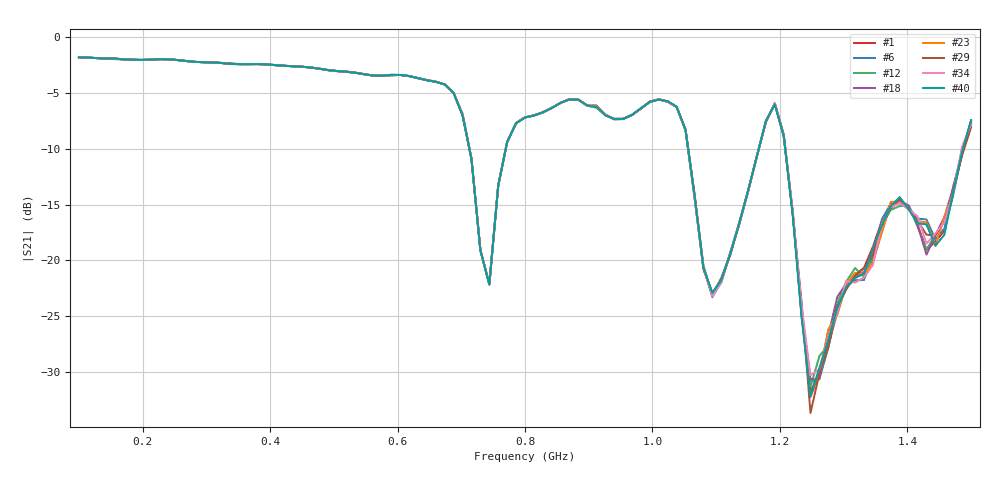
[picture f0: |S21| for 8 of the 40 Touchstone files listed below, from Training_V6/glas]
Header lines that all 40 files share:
! NanoVNA-App
! Start: 100MHz Stop: 1,5GHz Points: 101
! S-Parameter data: F S11 S21 S12 S22
# Hz S RI R 50
!  Frequency  S11_Real  S11_Imag  S21_Real  S21_Imag  S12_Real  S12_Imag  S22_Real  S22_Imag
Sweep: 100 MHz to 1.5 GHz
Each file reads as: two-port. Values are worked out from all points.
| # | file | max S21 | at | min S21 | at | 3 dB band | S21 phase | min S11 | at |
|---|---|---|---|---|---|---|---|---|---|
| 1 | glas (401).s2p | -1.80 dB | 100 MHz | -31.8 dB | 1.248 GHz | 100 MHz-674 MHz | 90 deg at 800 MHz | -41.7 dB | 492 MHz |
| 2 | glas (402).s2p | -1.80 dB | 100 MHz | -32.0 dB | 1.248 GHz | 100 MHz-674 MHz | 90 deg at 800 MHz | -41.7 dB | 492 MHz |
| 3 | glas (403).s2p | -1.80 dB | 100 MHz | -30.7 dB | 1.248 GHz | 100 MHz-674 MHz | 90 deg at 800 MHz | -41.8 dB | 492 MHz |
| 4 | glas (404).s2p | -1.80 dB | 100 MHz | -31.4 dB | 1.248 GHz | 100 MHz-674 MHz | 90 deg at 800 MHz | -41.6 dB | 492 MHz |
| 5 | glas (405).s2p | -1.80 dB | 100 MHz | -31.7 dB | 1.248 GHz | 100 MHz-674 MHz | 90 deg at 800 MHz | -41.3 dB | 492 MHz |
| 6 | glas (406).s2p | -1.80 dB | 100 MHz | -30.9 dB | 1.248 GHz | 100 MHz-674 MHz | 89 deg at 800 MHz | -41.7 dB | 492 MHz |
| 7 | glas (407).s2p | -1.80 dB | 100 MHz | -31.9 dB | 1.248 GHz | 100 MHz-674 MHz | 90 deg at 800 MHz | -41.5 dB | 492 MHz |
| 8 | glas (408).s2p | -1.80 dB | 100 MHz | -31.4 dB | 1.248 GHz | 100 MHz-674 MHz | 90 deg at 800 MHz | -41.8 dB | 492 MHz |
| 9 | glas (409).s2p | -1.80 dB | 100 MHz | -31.2 dB | 1.248 GHz | 100 MHz-674 MHz | 90 deg at 800 MHz | -41.6 dB | 492 MHz |
| 10 | glas (410).s2p | -1.80 dB | 100 MHz | -31.9 dB | 1.248 GHz | 100 MHz-674 MHz | 90 deg at 800 MHz | -41.9 dB | 492 MHz |
| 11 | glas (411).s2p | -1.80 dB | 100 MHz | -30.7 dB | 1.248 GHz | 100 MHz-674 MHz | 90 deg at 800 MHz | -41.8 dB | 492 MHz |
| 12 | glas (412).s2p | -1.80 dB | 100 MHz | -31.3 dB | 1.248 GHz | 100 MHz-674 MHz | 90 deg at 800 MHz | -41.8 dB | 492 MHz |
| 13 | glas (413).s2p | -1.80 dB | 100 MHz | -31.4 dB | 1.248 GHz | 100 MHz-674 MHz | 90 deg at 800 MHz | -41.4 dB | 492 MHz |
| 14 | glas (414).s2p | -1.80 dB | 100 MHz | -31.1 dB | 1.248 GHz | 100 MHz-674 MHz | 90 deg at 800 MHz | -41.9 dB | 492 MHz |
| 15 | glas (415).s2p | -1.80 dB | 100 MHz | -32.6 dB | 1.248 GHz | 100 MHz-674 MHz | 90 deg at 800 MHz | -41.9 dB | 492 MHz |
| 16 | glas (416).s2p | -1.80 dB | 100 MHz | -30.9 dB | 1.248 GHz | 100 MHz-674 MHz | 90 deg at 800 MHz | -41.7 dB | 492 MHz |
| 17 | glas (417).s2p | -1.80 dB | 100 MHz | -31.5 dB | 1.248 GHz | 100 MHz-674 MHz | 90 deg at 800 MHz | -42.0 dB | 492 MHz |
| 18 | glas (418).s2p | -1.80 dB | 100 MHz | -30.7 dB | 1.262 GHz | 100 MHz-674 MHz | 90 deg at 800 MHz | -41.8 dB | 492 MHz |
| 19 | glas (419).s2p | -1.80 dB | 100 MHz | -31.6 dB | 1.248 GHz | 100 MHz-674 MHz | 90 deg at 800 MHz | -41.7 dB | 492 MHz |
| 20 | glas (420).s2p | -1.80 dB | 100 MHz | -32.8 dB | 1.248 GHz | 100 MHz-674 MHz | 90 deg at 800 MHz | -41.5 dB | 492 MHz |
| 21 | glas (421).s2p | -1.80 dB | 100 MHz | -30.1 dB | 1.248 GHz | 100 MHz-674 MHz | 89 deg at 800 MHz | -41.8 dB | 492 MHz |
| 22 | glas (422).s2p | -1.80 dB | 100 MHz | -32.3 dB | 1.248 GHz | 100 MHz-674 MHz | 90 deg at 800 MHz | -41.9 dB | 492 MHz |
| 23 | glas (423).s2p | -1.80 dB | 100 MHz | -32.2 dB | 1.248 GHz | 100 MHz-674 MHz | 90 deg at 800 MHz | -41.7 dB | 492 MHz |
| 24 | glas (424).s2p | -1.80 dB | 100 MHz | -30.7 dB | 1.248 GHz | 100 MHz-674 MHz | 90 deg at 800 MHz | -41.6 dB | 492 MHz |
| 25 | glas (425).s2p | -1.80 dB | 100 MHz | -32.7 dB | 1.248 GHz | 100 MHz-674 MHz | 90 deg at 800 MHz | -41.6 dB | 492 MHz |
| 26 | glas (426).s2p | -1.80 dB | 100 MHz | -35.1 dB | 1.248 GHz | 100 MHz-674 MHz | 90 deg at 800 MHz | -41.7 dB | 492 MHz |
| 27 | glas (427).s2p | -1.80 dB | 100 MHz | -33.5 dB | 1.248 GHz | 100 MHz-674 MHz | 90 deg at 800 MHz | -41.4 dB | 492 MHz |
| 28 | glas (428).s2p | -1.80 dB | 100 MHz | -32.4 dB | 1.248 GHz | 100 MHz-674 MHz | 90 deg at 800 MHz | -41.8 dB | 492 MHz |
| 29 | glas (429).s2p | -1.80 dB | 100 MHz | -33.7 dB | 1.248 GHz | 100 MHz-674 MHz | 90 deg at 800 MHz | -41.9 dB | 492 MHz |
| 30 | glas (430).s2p | -1.80 dB | 100 MHz | -32.7 dB | 1.248 GHz | 100 MHz-674 MHz | 90 deg at 800 MHz | -41.4 dB | 492 MHz |
| 31 | glas (431).s2p | -1.80 dB | 100 MHz | -31.5 dB | 1.262 GHz | 100 MHz-674 MHz | 90 deg at 800 MHz | -41.5 dB | 492 MHz |
| 32 | glas (432).s2p | -1.80 dB | 100 MHz | -32.7 dB | 1.248 GHz | 100 MHz-674 MHz | 90 deg at 800 MHz | -41.7 dB | 492 MHz |
| 33 | glas (433).s2p | -1.80 dB | 100 MHz | -31.1 dB | 1.262 GHz | 100 MHz-674 MHz | 89 deg at 800 MHz | -41.9 dB | 492 MHz |
| 34 | glas (434).s2p | -1.80 dB | 100 MHz | -30.3 dB | 1.248 GHz | 100 MHz-674 MHz | 90 deg at 800 MHz | -41.7 dB | 492 MHz |
| 35 | glas (435).s2p | -1.80 dB | 100 MHz | -33.2 dB | 1.248 GHz | 100 MHz-674 MHz | 90 deg at 800 MHz | -42.0 dB | 492 MHz |
| 36 | glas (436).s2p | -1.80 dB | 100 MHz | -30.3 dB | 1.248 GHz | 100 MHz-674 MHz | 89 deg at 800 MHz | -42.1 dB | 492 MHz |
| 37 | glas (437).s2p | -1.80 dB | 100 MHz | -32.2 dB | 1.248 GHz | 100 MHz-674 MHz | 90 deg at 800 MHz | -41.4 dB | 492 MHz |
| 38 | glas (438).s2p | -1.80 dB | 100 MHz | -32.8 dB | 1.248 GHz | 100 MHz-674 MHz | 90 deg at 800 MHz | -41.8 dB | 492 MHz |
| 39 | glas (439).s2p | -1.80 dB | 100 MHz | -31.8 dB | 1.262 GHz | 100 MHz-674 MHz | 90 deg at 800 MHz | -41.7 dB | 492 MHz |
| 40 | glas (440).s2p | -1.80 dB | 100 MHz | -32.2 dB | 1.248 GHz | 100 MHz-674 MHz | 90 deg at 800 MHz | -42.0 dB | 492 MHz |
